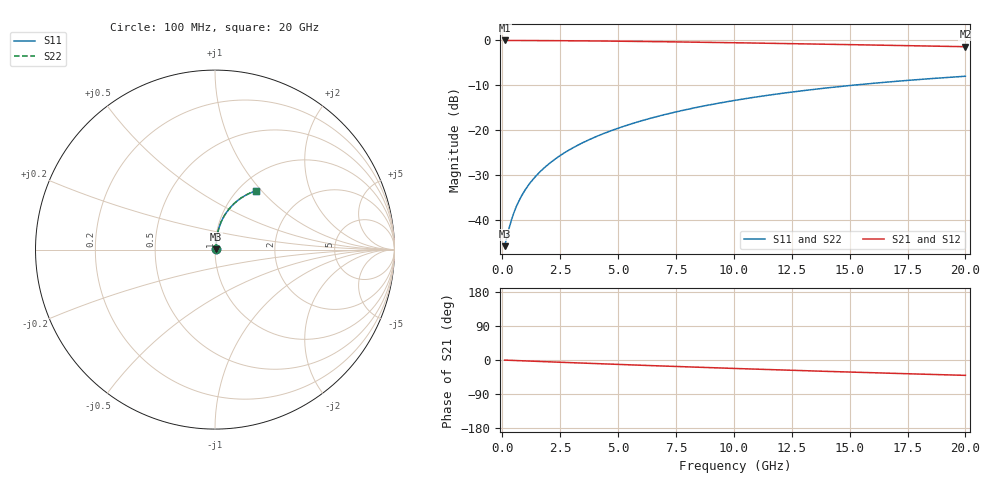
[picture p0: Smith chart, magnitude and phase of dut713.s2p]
! Touchstone file exported from HFSS 2024.1.0
!  File:  C:/UserFiles/LocalFiles/RDL_TSV_Batchsim/temp_RDL_bottom_713_1779858105.aedt
!  Generated:  01:04:27 PM May 27, 2026
!  Design:  RDL_bottom
!  Project:  temp_RDL_bottom_713_1779858105
!  Setup:  Setup1
!  Solution:  Sweep
! Variables:
!  dtsv = 10.80580581um
!  hbump = 3um
!  htsv = 80.6um
!  ldown = 542.19um
!  lrdl = 100um
!  p = 40
!  p1 = 48.83um
!  rhole = 1um
!  t = 450um
!  tdown = 2.28um
!  trdl = 3.915915916um
!  wdown = 19.42um
!  wrdl = 20um
# GHz S MA R 50.000000
! Terminal data exported
! Port[1] = RDL1_T1
! Port[2] = RDL1_T2
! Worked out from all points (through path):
!   200 points, 100 MHz to 20 GHz, reference 50 ohm
!   highest |S21| = -0.04 dB at 100 MHz (marker M1); lowest = -1.4 dB at 20 GHz (marker M2)
!   group delay of S21, straight-line fit = 5.61 ps
!   lowest |S11| = -45.8 dB at 100 MHz (marker M3), VSWR 1.01, Z = 50.5 + j0.226 ohm
!   |S11| at or under -10 dB: start of sweep to 15.15 GHz
!   |S22| runs from -45.8 to -8.0 dB; largest |S21 - S12| = 2.7e-15
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0.1  0.005116 26.0  0.9954 -0.3  0.9954 -0.3  0.005116 26.0
! Gamma 0 0 0 0
! Port Impedance 50 0 50 0
0.3  0.008213 53.9  0.9951 -0.7  0.9951 -0.7  0.008213 53.9
0.4  0.0101 60.3  0.9949 -1.0  0.9949 -1.0  0.0101 60.3
0.5  0.01204 64.6  0.9947 -1.2  0.9947 -1.2  0.01204 64.6
0.6  0.01399 67.5  0.9945 -1.5  0.9945 -1.5  0.01399 67.6
0.7  0.01595 69.8  0.9943 -1.7  0.9943 -1.7  0.01595 69.8
0.9  0.01988 73.0  0.9939 -2.2  0.9939 -2.2  0.01988 73.0
1.2  0.02582 76.0  0.9932 -2.9  0.9932 -2.9  0.02582 76.0
1.4  0.0298 77.4  0.9928 -3.4  0.9928 -3.4  0.0298 77.4
1.7  0.03583 78.8  0.992 -4.1  0.992 -4.1  0.03583 78.8
2.2  0.04599 80.2  0.9905 -5.2  0.9905 -5.2  0.04599 80.2
2.8  0.05837 81.0  0.9883 -6.6  0.9883 -6.6  0.05837 81.0
3.5  0.07302 81.3  0.9853 -8.3  0.9853 -8.3  0.07302 81.3
4.2  0.08788 81.1  0.9817 -9.9  0.9817 -9.9  0.08788 81.1
5  0.1051 80.5  0.977 -11.7  0.977 -11.7  0.1051 80.5
5.9  0.1246 79.5  0.9712 -13.7  0.9712 -13.7  0.1246 79.6
6.8  0.1443 78.3  0.9648 -15.6  0.9648 -15.6  0.1443 78.4
8.4  0.1792 75.9  0.9525 -19.0  0.9525 -19.0  0.1792 75.9
10.1  0.2157 72.9  0.9384 -22.5  0.9384 -22.5  0.2157 73.0
13.4  0.2831 66.9  0.9092 -28.9  0.9092 -28.9  0.2831 67.0
16.7  0.344 60.9  0.8788 -34.9  0.8788 -34.9  0.3441 61.0
20  0.3977 55.2  0.8484 -40.5  0.8484 -40.5  0.3979 55.3
